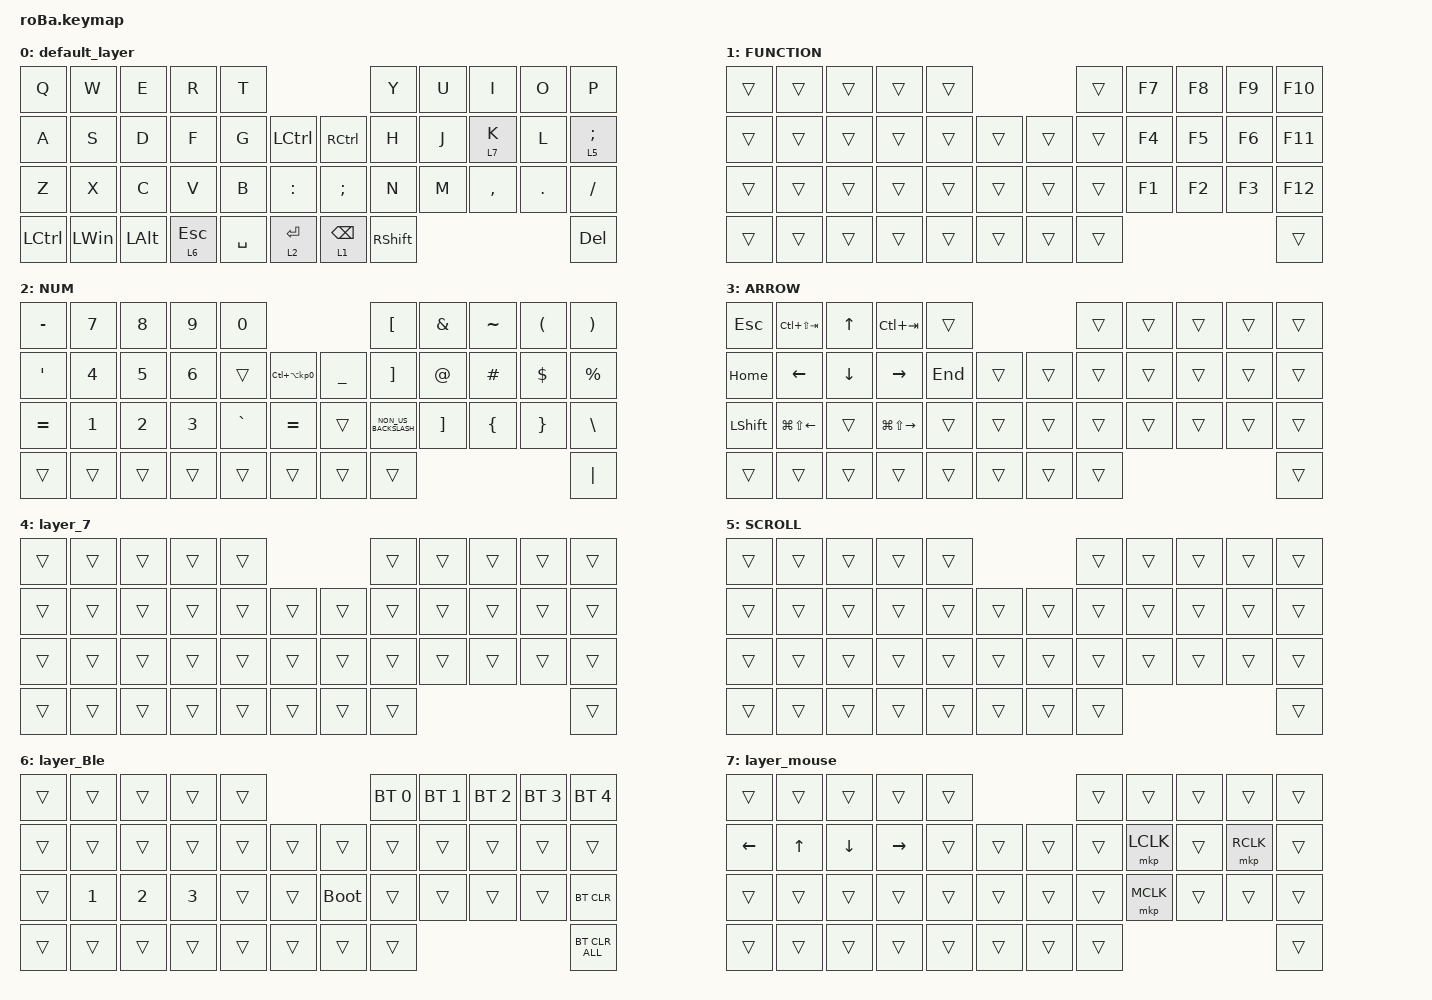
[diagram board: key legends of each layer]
#include <behaviors.dtsi>
#include <dt-bindings/zmk/bt.h>
#include <dt-bindings/zmk/keys.h>
#include <dt-bindings/zmk/pointing.h>

&mt {
    flavor = "balanced";
    quick-tap-ms = <0>;
};

&msc {
};

&trackball {
    // automouse-layer = <4>;

    scroll-layers = <5>;

    // arrows {
    //     layers = <3>;
    //     bindings =
    //         <&kp RIGHT_ARROW>,
    //         <&kp LEFT_ARROW>,
    //         <&kp UP_ARROW>,
    //         <&kp DOWN_ARROW>;
    //     tick = <10>;
    //     wait-ms = <5>;
    //     tap-ms = <5>;
    // };
};

/ {
    combos {
        compatible = "zmk,combos";

        tab {
            bindings = <&kp TAB>;
            key-positions = <11 10>;
        };

        shift_tab {
            bindings = <&kp LS(TAB)>;
            key-positions = <12 13>;
        };

        double_quotation {
            bindings = <&kp DOUBLE_QUOTES>;
            key-positions = <20 21>;
        };

        eq {
            bindings = <&kp EQUAL>;
            key-positions = <24 25>;
        };

        esc {
            bindings = <&kp ESCAPE>;
            key-positions = <0 1>;
        };
    };

    macros {
        to_layer_0_win: to_layer_0 {
            compatible = "zmk,behavior-macro-one-param";
            #binding-cells = <1>;
            bindings = <&to 0 &macro_param_1to1 &kp MACRO_PLACEHOLDER &kp LS(W) &kp I &kp N &kp EXCL &kp EXCL &kp EXCL>;
            label = "TO_LAYER_0";
        };
    };

    behaviors {
        lt_to_layer_0: lt_to_layer_0 {
            compatible = "zmk,behavior-hold-tap";
            label = "LAYER_TAP_TO_0";
            bindings = <&mo>, <&to_layer_0_win>;

            #binding-cells = <2>;
            tapping-term-ms = <200>;
        };
    };

    keymap {
        compatible = "zmk,keymap";

        default_layer {
            bindings = <
&kp Q      &kp W         &kp E         &kp R         &kp T                                               &kp Y            &kp U  &kp I      &kp O    &kp P
&kp A      &kp S         &kp D         &kp F         &kp G      &kp LEFT_CONTROL      &kp RIGHT_CONTROL  &kp H            &kp J  &lt 7 K    &kp L    &lt 5 SEMICOLON
&kp Z      &kp X         &kp C         &kp V         &kp B      &kp COLON             &kp SEMICOLON      &kp N            &kp M  &kp COMMA  &kp DOT  &kp SLASH
&kp LCTRL  &kp LEFT_WIN  &kp LEFT_ALT  &lt 6 ESCAPE  &kp SPACE  &lt 2 ENTER           &lt 1 BACKSPACE    &kp RIGHT_SHIFT                             &kp DEL
            >;
        };

        FUNCTION {
            bindings = <
&trans  &trans  &trans  &trans  &trans                      &trans  &kp F7  &kp F8  &kp F9  &kp F10
&trans  &trans  &trans  &trans  &trans  &trans      &trans  &trans  &kp F4  &kp F5  &kp F6  &kp F11
&trans  &trans  &trans  &trans  &trans  &trans      &trans  &trans  &kp F1  &kp F2  &kp F3  &kp F12
&trans  &trans  &trans  &trans  &trans  &trans      &trans  &trans                          &trans
            >;
        };

        NUM {
            bindings = <
&kp MINUS  &kp N7        &kp N8        &kp N9        &kp N0                                                  &kp LEFT_BRACKET      &kp AMPERSAND      &kp TILDE       &kp LEFT_PARENTHESIS  &kp RIGHT_PARENTHESIS
&kp SQT    &kp NUMBER_4  &kp N5        &kp NUMBER_6  &trans     &kp LC(LA(KP_NUMBER_0))      &kp UNDERSCORE  &kp RIGHT_BRACKET     &kp AT_SIGN        &kp HASH        &kp DOLLAR            &kp PERCENT
&kp EQUAL  &kp NUMBER_1  &kp NUMBER_2  &kp NUMBER_3  &kp GRAVE  &kp EQUAL                    &trans          &kp NON_US_BACKSLASH  &kp RIGHT_BRACKET  &kp LEFT_BRACE  &kp RIGHT_BRACE       &kp BACKSLASH
&trans     &trans        &trans        &trans        &trans     &trans                       &trans          &trans                                                                         &kp PIPE
            >;
        };

        ARROW {
            bindings = <
&kp ESCAPE      &kp LC(LS(TAB))         &kp UP_ARROW    &kp LC(TAB)              &trans                       &trans  &trans  &trans  &trans  &trans
&kp HOME        &kp LEFT_ARROW          &kp DOWN_ARROW  &kp RIGHT_ARROW          &kp END  &trans      &trans  &trans  &trans  &trans  &trans  &trans
&kp LEFT_SHIFT  &kp LG(LS(LEFT_ARROW))  &trans          &kp LG(LS(RIGHT_ARROW))  &trans   &trans      &trans  &trans  &trans  &trans  &trans  &trans
&trans          &trans                  &trans          &trans                   &trans   &trans      &trans  &trans                          &trans
            >;
        };

        layer_7 {
            bindings = <
&trans  &trans  &trans  &trans  &trans                      &trans  &trans  &trans  &trans  &trans
&trans  &trans  &trans  &trans  &trans  &trans      &trans  &trans  &trans  &trans  &trans  &trans
&trans  &trans  &trans  &trans  &trans  &trans      &trans  &trans  &trans  &trans  &trans  &trans
&trans  &trans  &trans  &trans  &trans  &trans      &trans  &trans                          &trans
            >;
        };

        SCROLL {
            bindings = <
&trans  &trans  &trans  &trans  &trans                      &trans  &trans  &trans  &trans  &trans
&trans  &trans  &trans  &trans  &trans  &trans      &trans  &trans  &trans  &trans  &trans  &trans
&trans  &trans  &trans  &trans  &trans  &trans      &trans  &trans  &trans  &trans  &trans  &trans
&trans  &trans  &trans  &trans  &trans  &trans      &trans  &trans                          &trans
            >;
        };

        layer_Ble {
            bindings = <
&trans  &trans        &trans        &trans        &trans                           &bt BT_SEL 0  &bt BT_SEL 1  &bt BT_SEL 2  &bt BT_SEL 3  &bt BT_SEL 4
&trans  &trans        &trans        &trans        &trans  &trans      &trans       &trans        &trans        &trans        &trans        &trans
&trans  &kp NUMBER_1  &kp NUMBER_2  &kp NUMBER_3  &trans  &trans      &bootloader  &trans        &trans        &trans        &trans        &bt BT_CLR
&trans  &trans        &trans        &trans        &trans  &trans      &trans       &trans                                                  &bt BT_CLR_ALL
            >;
        };

        layer_mouse {
            bindings = <
&trans    &trans        &trans    &trans     &trans                      &trans  &trans     &trans  &trans     &trans
&kp LEFT  &kp UP_ARROW  &kp DOWN  &kp RIGHT  &trans  &trans      &trans  &trans  &mkp LCLK  &trans  &mkp RCLK  &trans
&trans    &trans        &trans    &trans     &trans  &trans      &trans  &trans  &mkp MCLK  &trans  &trans     &trans
&trans    &trans        &trans    &trans     &trans  &trans      &trans  &trans                                &trans
            >;
        };
    };
};
